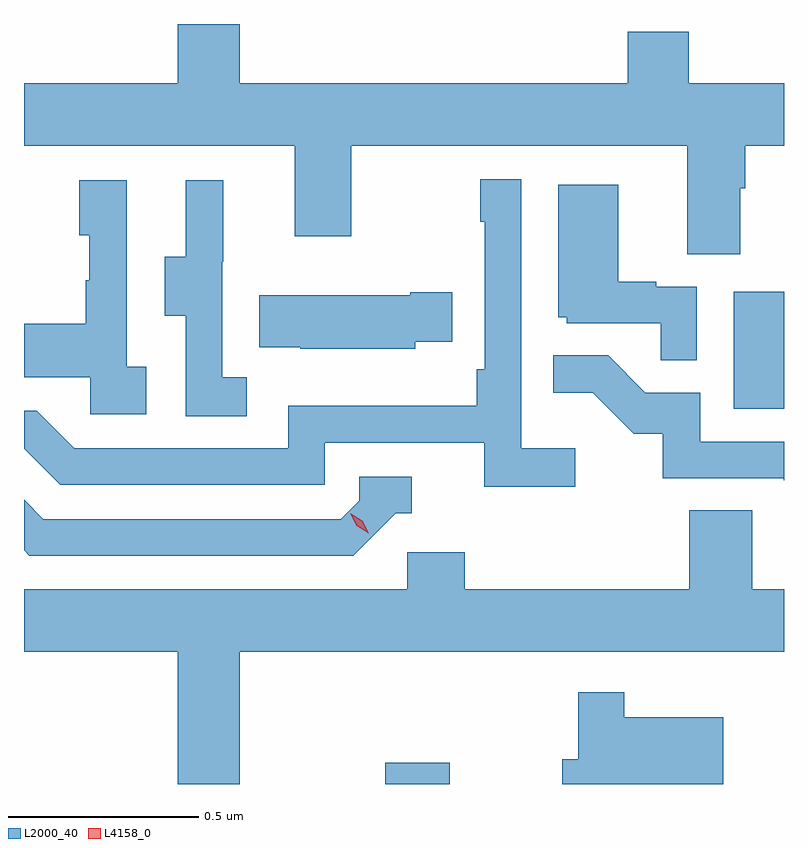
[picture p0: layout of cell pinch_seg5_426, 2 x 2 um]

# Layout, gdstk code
import gdstk
lib = gdstk.Library(unit=1e-6, precision=1e-09)
def R(c, l, rs):  # rectangles x0, y0, x1, y1
    for r in rs: c.add(gdstk.rectangle(r[:2], r[2:], *l))
def P(c, l, *ps):  # polygons
    for p in ps: c.add(gdstk.Polygon(p, *l))
L2000_40 = (2000, 40)
L4158_0 = (4158, 0)

pinch_seg5_426 = lib.new_cell('pinch_seg5_426')
R(pinch_seg5_426, L2000_40, [(968.75,857.744,968.92,857.8), (969.668,858.732,969.8,859.039)])
P(pinch_seg5_426, L2000_40, [(969.685,859.312),(969.698,859.312),(969.698,859.424),(969.8,859.424),(969.8,859.588),(969.549,859.588),(969.549,859.723),(969.389,859.723),(969.389,859.588),(968.368,859.588),(968.368,859.744),(968.204,859.744),(968.204,859.588),(967.8,859.588),(967.8,859.424),(968.513,859.424),(968.513,859.185),(968.661,859.185),(968.661,859.424),(969.545,859.424),(969.545,859.138),(969.685,859.138)],
  [(969.25,858.628),(969.108,858.628),(969.108,859.336),(969,859.336),(969,859.223),(969.012,859.223),(969.012,858.835),(968.992,858.835),(968.992,858.739),(968.496,858.739),(968.496,858.627),(967.932,858.627),(967.833,858.726),(967.8,858.726),(967.8,858.626),(967.895,858.531),(968.592,858.531),(968.592,858.642),(969.011,858.642),(969.011,858.526),(969.25,858.526)],
  [(968.122,858.842),(968.07,858.842),(968.07,859.333),(967.946,859.333),(967.946,859.188),(967.972,859.188),(967.972,859.07),(967.962,859.07),(967.962,858.955),(967.8,858.955),(967.8,858.815),(967.974,858.815),(967.974,858.717),(968.122,858.717)],
  [(968.386,858.815),(968.322,858.815),(968.322,859.119),(968.324,859.119),(968.324,859.333),(968.225,859.333),(968.225,859.131),(968.171,859.131),(968.171,858.976),(968.226,858.976),(968.226,858.712),(968.386,858.712)],
  [(969.57,859.053),(969.464,859.053),(969.464,859.066),(969.364,859.066),(969.364,859.321),(969.206,859.321),(969.206,858.972),(969.228,858.972),(969.228,858.957),(969.475,858.957),(969.475,858.859),(969.57,858.859)],
  [(968.829,858.908),(968.927,858.908),(968.927,859.038),(968.816,859.038),(968.816,859.03),(968.419,859.03),(968.419,858.893),(968.527,858.893),(968.527,858.89),(968.829,858.89)],
  [(969.8,858.645),(969.579,858.645),(969.579,858.774),(969.435,858.774),(969.337,858.872),(969.193,858.872),(969.193,858.773),(969.297,858.773),(969.404,858.666),(969.481,858.666),(969.481,858.549),(969.799,858.549),(969.799,858.544),(969.8,858.544)],
  [(968.778,858.456),(968.821,858.456),(968.821,858.552),(968.682,858.552),(968.682,858.489),(968.634,858.441),(967.851,858.441),(967.8,858.492),(967.8,858.359),(967.814,858.345),(968.667,858.345)],
  [(968.368,858.092),(969.8,858.092),(969.8,858.256),(969.716,858.256),(969.716,858.464),(969.551,858.464),(969.551,858.256),(968.96,858.256),(968.96,858.354),(968.808,858.354),(968.808,858.256),(967.8,858.256),(967.8,858.092),(968.204,858.092),(968.204,857.744),(968.368,857.744)],
  [(969.64,857.92),(969.379,857.92),(969.379,857.986),(969.258,857.986),(969.258,857.809),(969.216,857.809),(969.216,857.744),(969.64,857.744)])
P(pinch_seg5_426, L4158_0, [(968.707,858.404),(968.676,858.423),(968.659,858.456),(968.659,858.456),(968.659,858.456),(968.69,858.437),(968.707,858.404),(968.707,858.404)])

lib.write_gds('pinch_seg5_426.gds')
